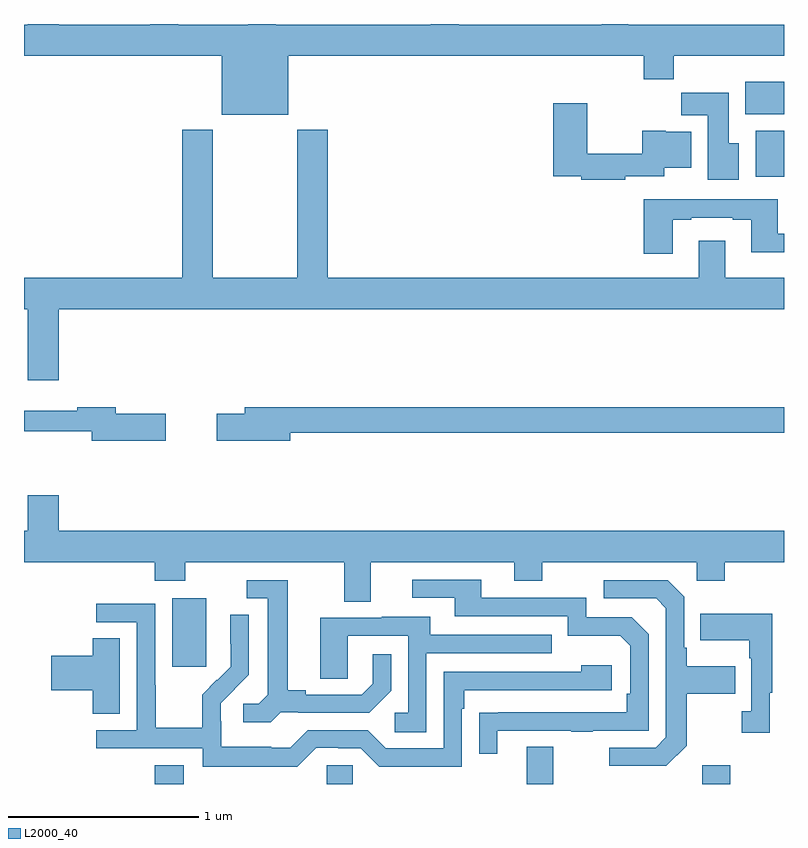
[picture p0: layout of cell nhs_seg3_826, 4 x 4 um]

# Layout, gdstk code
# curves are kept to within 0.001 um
import gdstk
lib = gdstk.Library(unit=1e-6, precision=1e-09)
def R(c, l, rs):  # rectangles x0, y0, x1, y1
    for r in rs: c.add(gdstk.rectangle(r[:2], r[2:], *l))
def P(c, l, *ps):  # polygons
    for p in ps: c.add(gdstk.Polygon(p, *l))
L2000_40 = (2000, 40)

nhs_seg3_826 = lib.new_cell('nhs_seg3_826')
R(nhs_seg3_826, L2000_40, [(153.689,714.4,153.841,714.499), (154.593,714.4,154.731,714.498), (155.645,714.4,155.785,714.595), (156.569,714.4,156.717,714.499), (153.779,715.017,153.958,715.378), (156.851,717.596,157,717.838), (156.797,717.926,157,718.096)])
P(nhs_seg3_826, L2000_40, [(154.39,718.232),(156.263,718.232),(156.263,718.108),(156.419,718.108),(156.419,718.232),(157,718.232),(157,718.396),(156.181,718.396),(156.181,718.4),(156.041,718.4),(156.041,718.396),(155.287,718.396),(155.287,718.4),(155.14,718.4),(155.14,718.396),(154.326,718.396),(154.326,718.4),(154.18,718.4),(154.18,718.396),(153.813,718.396),(153.813,718.4),(153.665,718.4),(153.665,718.396),(153.184,718.396),(153.184,718.4),(153.02,718.4),(153.02,718.396),(153,718.396),(153,718.232),(154.04,718.232),(154.04,717.923),(154.39,717.923)],
  [(156.763,717.772),(156.709,717.772),(156.709,718.038),(156.46,718.038),(156.46,717.92),(156.599,717.92),(156.599,717.579),(156.763,717.579)],
  [(156.164,717.6),(156.37,717.6),(156.37,717.644),(156.511,717.644),(156.511,717.832),(156.378,717.832),(156.378,717.838),(156.253,717.838),(156.253,717.716),(155.964,717.716),(155.964,717.982),(155.786,717.982),(155.786,717.6),(155.932,717.6),(155.932,717.58),(156.164,717.58)],
  [(153.184,716.9),(157,716.9),(157,717.064),(156.691,717.064),(156.691,717.259),(156.551,717.259),(156.551,717.064),(154.598,717.064),(154.598,717.844),(154.438,717.844),(154.438,717.064),(153.993,717.064),(153.993,717.844),(153.833,717.844),(153.833,717.064),(153,717.064),(153,716.9),(153.02,716.9),(153.02,716.526),(153.184,716.526)],
  [(156.415,717.369),(156.511,717.369),(156.511,717.381),(156.731,717.381),(156.731,717.369),(156.827,717.369),(156.827,717.2),(157,717.2),(157,717.297),(156.967,717.297),(156.967,717.477),(156.263,717.477),(156.263,717.192),(156.415,717.192)],
  [(153.745,716.348),(153.484,716.348),(153.484,716.384),(153.28,716.384),(153.28,716.365),(153,716.365),(153,716.256),(153.356,716.256),(153.356,716.206),(153.745,716.206)],
  [(154.402,716.248),(157,716.248),(157,716.384),(154.163,716.384),(154.163,716.348),(154.014,716.348),(154.014,716.206),(154.402,716.206)],
  [(154.825,715.568),(155.579,715.568),(155.579,715.469),(155.727,715.469),(155.727,715.568),(156.54,715.568),(156.54,715.469),(156.687,715.469),(156.687,715.568),(157,715.568),(157,715.732),(153.184,715.732),(153.184,715.921),(153.02,715.921),(153.02,715.732),(153,715.732),(153,715.568),(153.689,715.568),(153.689,715.469),(153.849,715.469),(153.849,715.568),(154.685,715.568),(154.685,715.36),(154.825,715.36)],
  [(155.491,714.681),(155.881,714.681),(155.881,714.676),(155.993,714.676),(155.993,714.681),(156.288,714.681),(156.288,715.188),(156.198,715.278),(155.958,715.278),(155.958,715.38),(155.407,715.38),(155.407,715.476),(155.043,715.476),(155.043,715.38),(155.267,715.38),(155.267,715.284),(155.862,715.284),(155.862,715.181),(156.139,715.181),(156.192,715.128),(156.192,714.874),(156.172,714.874),(156.172,714.777),(155.395,714.776),(155.395,714.558),(155.491,714.558)],
  [(154.35,714.777),(154.444,714.777),(154.444,714.774),(154.816,714.774),(154.932,714.89),(154.932,715.084),(154.835,715.084),(154.835,714.927),(154.778,714.87),(154.483,714.87),(154.483,714.893),(154.387,714.893),(154.387,715.473),(154.173,715.473),(154.173,715.377),(154.283,715.377),(154.283,714.869),(154.236,714.822),(154.155,714.822),(154.155,714.725),(154.298,714.725)],
  [(156.487,714.601),(156.487,714.874),(156.743,714.874),(156.743,715.021),(156.487,715.021),(156.487,715.117),(156.474,715.117),(156.474,715.386),(156.387,715.473),(156.051,715.473),(156.051,715.377),(156.327,715.377),(156.378,715.326),(156.378,714.645),(156.324,714.591),(156.081,714.591),(156.081,714.495),(156.381,714.495)],
  [(154.539,714.591),(154.655,714.591),(154.655,714.588),(154.773,714.588),(154.869,714.492),(155.304,714.492),(155.304,714.797),(155.317,714.797),(155.317,714.894),(156.094,714.894),(156.094,715.024),(155.933,715.024),(155.933,714.99),(155.208,714.99),(155.208,714.588),(154.905,714.588),(154.809,714.684),(154.494,714.684),(154.401,714.591),(154.301,714.591),(154.301,714.595),(154.038,714.595),(154.038,714.729),(154.036,714.729),(154.036,714.826),(154.182,714.974),(154.182,715.292),(154.086,715.292),(154.086,715.138),(154.088,715.138),(154.088,715.016),(154.017,714.945),(154.014,714.948),(153.937,714.871),(153.937,714.697),(153.693,714.697),(153.693,714.92),(153.69,714.92),(153.69,715.35),(153.381,715.35),(153.381,715.251),(153.594,715.251),(153.594,714.684),(153.381,714.684),(153.381,714.588),(153.942,714.588),(153.942,714.491),(154.439,714.491)],
  [(156.925,714.881),(156.937,714.881),(156.937,715.297),(156.559,715.297),(156.559,715.157),(156.816,715.157),(156.816,715.061),(156.828,715.061),(156.828,714.782),(156.777,714.782),(156.777,714.669),(156.925,714.669)],
  [(155.118,715.089),(155.777,715.089),(155.777,715.185),(155.137,715.185),(155.137,715.279),(154.883,715.279),(154.883,715.275),(154.559,715.275),(154.559,714.955),(154.704,714.955),(154.704,715.179),(155.022,715.179),(155.022,714.774),(154.95,714.774),(154.95,714.673),(155.118,714.673)],
  [(153.505,715.166),(153.362,715.166),(153.362,715.076),(153.144,715.076),(153.144,714.893),(153.362,714.893),(153.362,714.769),(153.505,714.769)])

lib.write_gds('nhs_seg3_826.gds')
